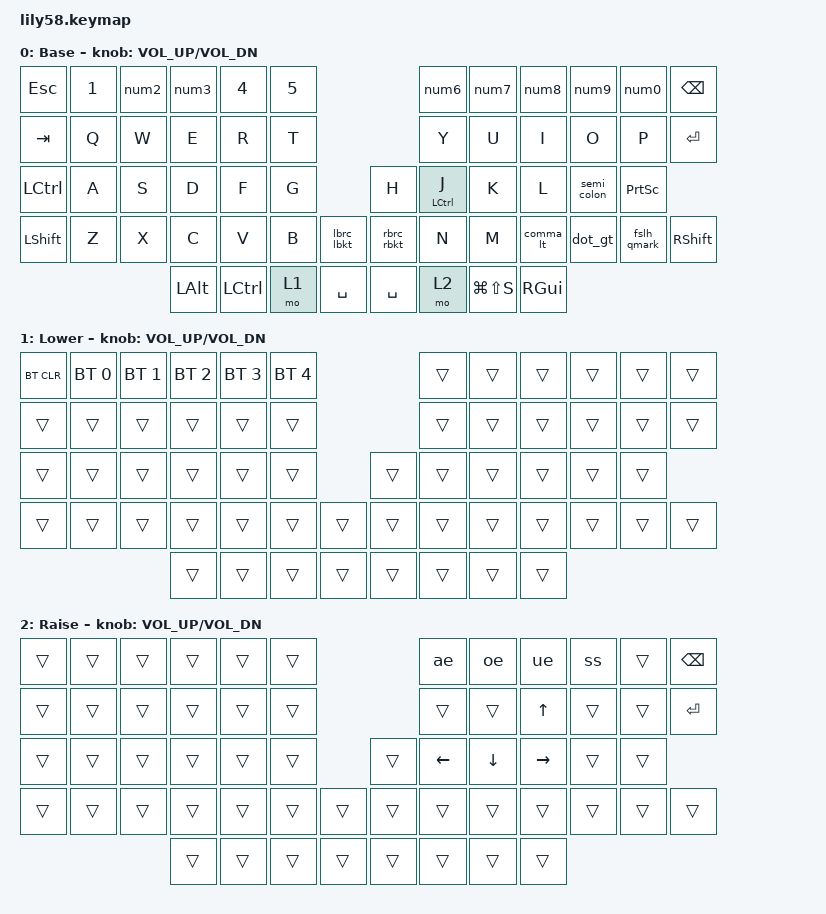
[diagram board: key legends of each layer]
/*
 * Copyright (c) 2020 The ZMK Contributors
 *
 * SPDX-License-Identifier: MIT
 */

#include <behaviors.dtsi>
#include <dt-bindings/zmk/keys.h>
#include <dt-bindings/zmk/bt.h>
#include <dt-bindings/zmk/ext_power.h>

// German Windows layout direct keycodes
// [ = AltGr+8, ] = AltGr+9, { = AltGr+7, } = AltGr+0
// @ = AltGr+Q, \ = AltGr+ß(MINUS), | = AltGr+<(NUBS), ~ = AltGr++(RBKT)
// # = BSLH key directly

/ {
    behaviors {
        num2: num2_at {
            compatible = "zmk,behavior-mod-morph";
            #binding-cells = <0>;
            bindings = <&kp N2>, <&kp RA(Q)>;
            mods = <(MOD_LSFT|MOD_RSFT)>;
        };
        num3: num3_hash {
            compatible = "zmk,behavior-mod-morph";
            #binding-cells = <0>;
            bindings = <&kp N3>, <&kp BSLH>;
            mods = <(MOD_LSFT|MOD_RSFT)>;
        };
        num6: num6_caret {
            compatible = "zmk,behavior-mod-morph";
            #binding-cells = <0>;
            bindings = <&kp N6>, <&kp GRAVE>;
            mods = <(MOD_LSFT|MOD_RSFT)>;
        };
        num7: num7_amps {
            compatible = "zmk,behavior-mod-morph";
            #binding-cells = <0>;
            bindings = <&kp N7>, <&kp LS(N6)>;
            mods = <(MOD_LSFT|MOD_RSFT)>;
        };
        num8: num8_star {
            compatible = "zmk,behavior-mod-morph";
            #binding-cells = <0>;
            bindings = <&kp N8>, <&kp LS(RBKT)>;
            mods = <(MOD_LSFT|MOD_RSFT)>;
        };
        num9: num9_lpar {
            compatible = "zmk,behavior-mod-morph";
            #binding-cells = <0>;
            bindings = <&kp N9>, <&kp LS(N8)>;
            mods = <(MOD_LSFT|MOD_RSFT)>;
        };
        num0: num0_rpar {
            compatible = "zmk,behavior-mod-morph";
            #binding-cells = <0>;
            bindings = <&kp N0>, <&kp LS(N9)>;
            mods = <(MOD_LSFT|MOD_RSFT)>;
        };
        lbrc_lbkt: lbrc_lbkt {
            compatible = "zmk,behavior-mod-morph";
            #binding-cells = <0>;
            bindings = <&kp RA(N7)>, <&kp RA(N8)>;
            mods = <(MOD_LSFT|MOD_RSFT)>;
        };
        rbrc_rbkt: rbrc_rbkt {
            compatible = "zmk,behavior-mod-morph";
            #binding-cells = <0>;
            bindings = <&kp RA(N0)>, <&kp RA(N9)>;
            mods = <(MOD_LSFT|MOD_RSFT)>;
        };
        comma_lt: comma_lt {
            compatible = "zmk,behavior-mod-morph";
            #binding-cells = <0>;
            bindings = <&kp COMMA>, <&kp NUBS>;
            mods = <(MOD_LSFT|MOD_RSFT)>;
        };
        dot_gt: dot_gt {
            compatible = "zmk,behavior-mod-morph";
            #binding-cells = <0>;
            bindings = <&kp DOT>, <&kp LS(NUBS)>;
            mods = <(MOD_LSFT|MOD_RSFT)>;
        };
        fslh_qmark: fslh_qmark {
            compatible = "zmk,behavior-mod-morph";
            #binding-cells = <0>;
            bindings = <&kp LS(N7)>, <&kp LS(MINUS)>;
            mods = <(MOD_LSFT|MOD_RSFT)>;
        };
        semi_colon: semi_colon {
            compatible = "zmk,behavior-mod-morph";
            #binding-cells = <0>;
            bindings = <&kp LS(DOT)>, <&kp LS(COMMA)>;
            mods = <(MOD_LSFT|MOD_RSFT)>;
        };
        // German umlauts (single key). Tap = lowercase, Shift = uppercase.
        ae: ae_umlaut {
            compatible = "zmk,behavior-mod-morph";
            #binding-cells = <0>;
            bindings = <&kp SQT>, <&kp LS(SQT)>;   // ä / Ä
            mods = <(MOD_LSFT|MOD_RSFT)>;
        };
        oe: oe_umlaut {
            compatible = "zmk,behavior-mod-morph";
            #binding-cells = <0>;
            bindings = <&kp SEMI>, <&kp LS(SEMI)>; // ö / Ö
            mods = <(MOD_LSFT|MOD_RSFT)>;
        };
        ue: ue_umlaut {
            compatible = "zmk,behavior-mod-morph";
            #binding-cells = <0>;
            bindings = <&kp LBKT>, <&kp LS(LBKT)>; // ü / Ü
            mods = <(MOD_LSFT|MOD_RSFT)>;
        };
        ss: ss_eszett {
            compatible = "zmk,behavior-mod-morph";
            #binding-cells = <0>;
            bindings = <&kp MINUS>, <&kp LS(MINUS)>; // ß / ? (as on a real DE keyboard)
            mods = <(MOD_LSFT|MOD_RSFT)>;
        };
    };

    keymap {
        compatible = "zmk,keymap";

        default_layer {
// ------------------------------------------------------------------------------------------------------------
// |  ESC  |  1  |  2  |  3   |  4   |  5   |                   |  6   |  7    |  8    |  9   |   0   |   `   |
// |  TAB  |  Q  |  W  |  E   |  R   |  T   |                   |  Y   |  U    |  I    |  O   |   P   |   -   |
// |  CTRL |  A  |  S  |  D   |  F   |  G   |                   |  H   |  J    |  K    |  L   |   ;   |   '   |
// | SHIFT |  Z  |  X  |  C   |  V   |  B   |   "["  |  |  "]"  |  N   |  M    |  ,    |  .   |   /   | SHIFT |
//                     | ALT  | GUI  | LOWER|  SPACE |  | ENTER | RAISE| BSPC  | GUI   |
            display-name = "Base";
            bindings = <
&kp ESC   &kp N1 &num2  &num3    &kp N4   &kp N5                     &num6  &num7    &num8     &num9   &num0    &kp BSPC
&kp TAB   &kp Q  &kp W  &kp E    &kp R    &kp T                      &kp Y  &kp U    &kp I     &kp O   &kp P    &kp RET
&kp LCTRL &kp A  &kp S  &kp D    &kp F    &kp G                      &kp H  &mt LCTRL J    &kp K     &kp L   &semi_colon &kp PSCRN
&kp LSHFT &kp Z  &kp X  &kp C    &kp V    &kp B  &lbrc_lbkt   &rbrc_rbkt &kp N  &kp M    &comma_lt &dot_gt &fslh_qmark &kp RSHFT
                        &kp LALT &kp LCTRL &mo 1  &kp SPACE  &kp SPACE  &mo 2  &kp LG(LS(S)) &kp RGUI      
            >;

            sensor-bindings = <&inc_dec_kp C_VOL_UP C_VOL_DN>;
        };

        lower_layer {
// ------------H------------------------------------------------------------------------------------------------
// | BTCLR | BT1 | BT2 |  BT3 |  BT4 |  BT5 |                   |      |       |       |      |       |       |
// |  F1   |  F2 |  F3 |  F4  |  F5  |  F6  |                   |  F7  |  F8   |  F9   |  F10 |  F11  |  F12  |
// |   `   |  !  |  @  |  #   |  $   |  %   |                   |  ^   |  &    |  *    |  (   |   )   |   ~   |
// |       |     |     |      |      |      |        |  |       |      |  _    |  +    |  {   |   }   |  "|"  |
//                     |      |      |      |        |  |       |      |       |       |
            display-name = "Lower";
            bindings = <
&bt BT_CLR &bt BT_SEL 0     &bt BT_SEL 1      &bt BT_SEL 2      &bt BT_SEL 3 &bt BT_SEL 4                 &trans    &trans    &trans          &trans    &trans    &trans
&trans     &trans           &trans            &trans            &trans       &trans                       &trans    &trans    &trans          &trans   &trans   &trans
&trans  &trans      &trans         &trans             &trans    &trans                      &trans    &trans   &trans &trans   &trans   &trans
&trans     &trans           &trans            &trans            &trans       &trans    &trans   &trans    &trans    &trans     &trans        &trans   &trans   &trans
                                              &trans            &trans       &trans    &trans   &trans    &trans    &trans    &trans
            >;

            sensor-bindings = <&inc_dec_kp C_VOL_UP C_VOL_DN>;
        };

        raise_layer {
// ------------------------------------------------------------------------------------------------------------
// |       |     |     |      |      |      |                   |      |       |       |      |       |       |
// |   `   |  1  |  2  |  3   |  4   |  5   |                   |  6   |   7   |   8   |  9   |   0   |       |
// |   F1  |  F2 |  F3 |  F4  |  F5  |  F6  |                   |      |   <-  |   v   |  ^   |  ->   |       |
// |   F7  |  F8 |  F9 |  F10 |  F11 |  F12 |        |  |       |  +   |   -   |   =   |  [   |   ]   |   \   |
//                     |      |      |      |        |  |       |      |       |       |
            display-name = "Raise";
            bindings = <
&trans    &trans &trans &trans  &trans  &trans                       &ae      &oe    &ue    &ss   &trans    &kp BSPC
&trans &trans &trans &trans &trans  &trans                       &trans      &trans    &kp UP    &trans   &trans    &kp RET
&trans    &trans &trans &trans  &trans  &trans                       &trans      &kp LEFT  &kp DOWN  &kp RIGHT &trans &trans
&trans    &trans &trans &trans &trans &trans   &trans   &trans     &trans    &trans     &trans   &trans  &trans   &trans
                        &trans  &trans  &trans    &trans   &trans    &trans      &trans    &trans
            >;

            sensor-bindings = <&inc_dec_kp C_VOL_UP C_VOL_DN>;
        };

        extra_1 {
            status = "reserved";
        };

        extra_2 {
            status = "reserved";
        };

        extra_3 {
            status = "reserved";
        };
    };
};
